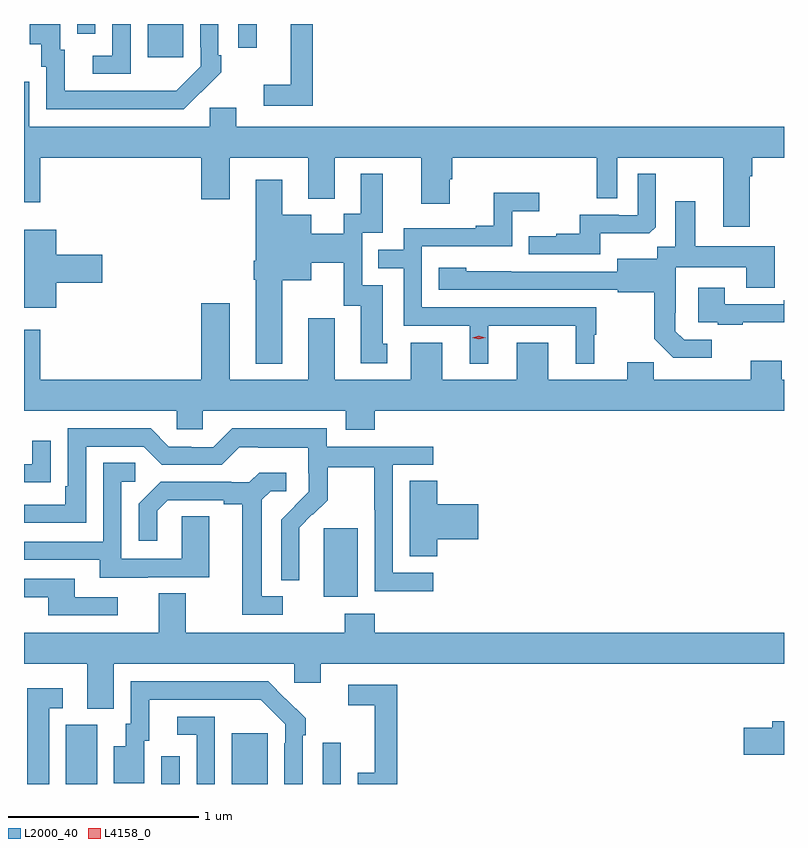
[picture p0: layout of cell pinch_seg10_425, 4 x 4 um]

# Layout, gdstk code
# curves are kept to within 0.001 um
import gdstk
lib = gdstk.Library(unit=1e-6, precision=1e-09)
def R(c, l, rs):  # rectangles x0, y0, x1, y1
    for r in rs: c.add(gdstk.rectangle(r[:2], r[2:], *l))
def P(c, l, *ps):  # polygons
    for p in ps: c.add(gdstk.Polygon(p, *l))
L2000_40 = (2000, 40)
L4158_0 = (4158, 0)

pinch_seg10_425 = lib.new_cell('pinch_seg10_425')
R(pinch_seg10_425, L2000_40, [(349.58,1287.696,349.744,1288.008), (350.082,1287.696,350.178,1287.841), (350.453,1287.696,350.641,1287.964), (350.931,1287.696,351.027,1287.913), (350.936,1288.682,351.115,1289.043), (350.009,1291.521,350.197,1291.696), (350.487,1291.572,350.583,1291.696), (349.638,1291.644,349.734,1291.696)])
P(pinch_seg10_425, L2000_40, [(350.291,1291.339),(350.292,1291.338),(350.397,1291.443),(350.397,1291.531),(350.382,1291.531),(350.382,1291.696),(350.286,1291.696),(350.286,1291.573),(350.289,1291.573),(350.289,1291.473),(350.161,1291.345),(350.057,1291.344),(349.573,1291.344),(349.573,1291.56),(349.549,1291.56),(349.549,1291.696),(349.388,1291.696),(349.388,1291.589),(349.451,1291.589),(349.451,1291.47),(349.476,1291.47),(349.476,1291.248),(350.2,1291.248)],
  [(350.879,1291.696),(350.762,1291.696),(350.762,1291.375),(350.622,1291.375),(350.622,1291.266),(350.879,1291.266)],
  [(349.92,1291.696),(349.824,1291.696),(349.824,1291.53),(349.722,1291.53),(349.722,1291.434),(349.92,1291.434)],
  [(353.179,1290.896),(353.192,1290.896),(353.192,1290.992),(353.359,1290.992),(353.359,1291.156),(350.476,1291.156),(350.476,1291.254),(350.337,1291.254),(350.337,1291.156),(349.387,1291.156),(349.387,1291.392),(349.359,1291.392),(349.359,1290.759),(349.445,1290.759),(349.445,1290.992),(350.291,1290.992),(350.291,1290.774),(350.443,1290.774),(350.443,1290.992),(350.855,1290.992),(350.855,1290.776),(350.995,1290.776),(350.995,1290.992),(351.449,1290.992),(351.449,1290.75),(351.601,1290.75),(351.601,1290.879),(351.614,1290.879),(351.614,1290.992),(352.374,1290.992),(352.374,1290.778),(352.482,1290.778),(352.482,1290.992),(353.039,1290.992),(353.039,1290.63),(353.179,1290.63)],
  [(352.393,1290.596),(352.651,1290.596),(352.683,1290.627),(352.683,1290.907),(352.59,1290.907),(352.59,1290.69),(352.49,1290.69),(352.49,1290.693),(352.283,1290.693),(352.283,1290.592),(352.159,1290.592),(352.159,1290.58),(352.015,1290.58),(352.015,1290.483),(352.393,1290.483)],
  [(350.719,1290.347),(350.872,1290.347),(350.872,1290.44),(351.042,1290.44),(351.042,1290.213),(351.131,1290.213),(351.131,1289.91),(351.271,1289.91),(351.271,1290.012),(351.247,1290.012),(351.247,1290.321),(351.138,1290.321),(351.138,1290.597),(351.247,1290.597),(351.247,1290.907),(351.131,1290.907),(351.131,1290.698),(351.041,1290.698),(351.041,1290.592),(350.872,1290.592),(350.872,1290.691),(350.719,1290.691),(350.719,1290.877),(350.579,1290.877),(350.579,1290.451),(350.567,1290.451),(350.567,1290.351),(350.579,1290.351),(350.579,1289.909),(350.719,1289.909)],
  [(351.802,1290.108),(352.262,1290.108),(352.262,1289.909),(352.36,1289.909),(352.36,1290.06),(352.372,1290.06),(352.372,1290.204),(351.453,1290.204),(351.453,1290.525),(351.93,1290.525),(351.93,1290.71),(352.072,1290.71),(352.072,1290.809),(351.832,1290.809),(351.832,1290.634),(351.737,1290.634),(351.737,1290.621),(351.357,1290.621),(351.357,1290.507),(351.223,1290.507),(351.223,1290.411),(351.357,1290.411),(351.357,1290.108),(351.704,1290.108),(351.704,1289.909),(351.802,1289.909)],
  [(352.978,1290.033),(352.833,1290.033),(352.786,1290.08),(352.786,1290.175),(352.788,1290.175),(352.788,1290.416),(353.159,1290.416),(353.159,1290.307),(353.311,1290.307),(353.311,1290.526),(352.891,1290.526),(352.891,1290.763),(352.787,1290.763),(352.787,1290.524),(352.692,1290.524),(352.692,1290.46),(352.481,1290.46),(352.481,1290.393),(351.687,1290.394),(351.687,1290.412),(351.543,1290.412),(351.543,1290.297),(352.485,1290.297),(352.485,1290.285),(352.677,1290.285),(352.677,1290.039),(352.777,1289.939),(352.978,1289.939)],
  [(349.528,1290.335),(349.771,1290.335),(349.771,1290.482),(349.528,1290.482),(349.528,1290.613),(349.359,1290.613),(349.359,1290.203),(349.528,1290.203)],
  [(353.143,1290.125),(353.359,1290.125),(353.359,1290.241),(353.357,1290.241),(353.357,1290.222),(353.047,1290.222),(353.047,1290.307),(352.907,1290.307),(352.907,1290.126),(353.011,1290.126),(353.011,1290.114),(353.143,1290.114)],
  [(351.206,1289.66),(353.359,1289.66),(353.359,1289.824),(353.347,1289.824),(353.347,1289.923),(353.183,1289.923),(353.183,1289.824),(352.673,1289.824),(352.673,1289.915),(352.535,1289.915),(352.535,1289.824),(352.117,1289.824),(352.117,1290.019),(351.953,1290.019),(351.953,1289.824),(351.559,1289.824),(351.559,1290.019),(351.395,1290.019),(351.395,1289.824),(350.995,1289.824),(350.995,1290.148),(350.855,1290.148),(350.855,1289.824),(350.443,1289.824),(350.443,1290.226),(350.291,1290.226),(350.291,1289.824),(349.445,1289.824),(349.445,1290.088),(349.359,1290.088),(349.359,1289.66),(350.163,1289.66),(350.163,1289.562),(350.301,1289.562),(350.301,1289.66),(351.053,1289.66),(351.053,1289.561),(351.206,1289.561)],
  [(351.514,1288.809),(351.3,1288.809),(351.3,1289.376),(351.514,1289.376),(351.514,1289.472),(350.952,1289.472),(350.952,1289.569),(350.455,1289.569),(350.355,1289.469),(350.24,1289.469),(350.24,1289.472),(350.121,1289.472),(350.025,1289.568),(349.59,1289.568),(349.59,1289.263),(349.577,1289.263),(349.577,1289.166),(349.359,1289.166),(349.359,1289.07),(349.686,1289.07),(349.686,1289.472),(349.989,1289.472),(350.085,1289.376),(350.4,1289.376),(350.493,1289.469),(350.593,1289.469),(350.593,1289.465),(350.856,1289.465),(350.856,1289.331),(350.858,1289.331),(350.858,1289.234),(350.712,1289.086),(350.712,1288.768),(350.808,1288.768),(350.807,1289.045),(350.877,1289.115),(350.88,1289.112),(350.957,1289.189),(350.957,1289.364),(351.202,1289.364),(351.202,1289.14),(351.204,1289.14),(351.204,1288.711),(351.514,1288.711)],
  [(349.397,1289.284),(349.499,1289.284),(349.499,1289.503),(349.403,1289.503),(349.403,1289.379),(349.359,1289.379),(349.359,1289.283),(349.397,1289.283)],
  [(350.011,1288.785),(350.335,1288.785),(350.335,1289.105),(350.19,1289.105),(350.19,1288.881),(349.872,1288.881),(349.872,1289.286),(349.945,1289.286),(349.945,1289.387),(349.776,1289.387),(349.776,1288.971),(349.359,1288.971),(349.359,1288.875),(349.757,1288.875),(349.757,1288.781),(350.011,1288.781)],
  [(350.722,1288.683),(350.611,1288.683),(350.611,1289.191),(350.658,1289.238),(350.74,1289.238),(350.74,1289.335),(350.596,1289.335),(350.544,1289.283),(350.45,1289.283),(350.45,1289.286),(350.078,1289.286),(349.962,1289.17),(349.962,1288.977),(350.059,1288.977),(350.059,1289.133),(350.116,1289.19),(350.411,1289.19),(350.411,1289.168),(350.507,1289.168),(350.507,1288.587),(350.722,1288.587)],
  [(351.533,1288.985),(351.751,1288.985),(351.751,1289.168),(351.533,1289.168),(351.533,1289.291),(351.389,1289.291),(351.389,1288.894),(351.533,1288.894)],
  [(349.852,1288.68),(349.627,1288.68),(349.627,1288.776),(349.359,1288.776),(349.359,1288.68),(349.487,1288.68),(349.487,1288.584),(349.852,1288.584)],
  [(349.831,1288.328),(350.781,1288.328),(350.781,1288.23),(350.92,1288.23),(350.92,1288.328),(353.359,1288.328),(353.359,1288.492),(351.206,1288.492),(351.206,1288.591),(351.046,1288.591),(351.046,1288.492),(350.209,1288.492),(350.209,1288.7),(350.069,1288.7),(350.069,1288.492),(349.359,1288.492),(349.359,1288.328),(349.691,1288.328),(349.691,1288.093),(349.831,1288.093)],
  [(350.826,1287.953),(350.841,1287.953),(350.841,1288.041),(350.644,1288.236),(349.92,1288.236),(349.92,1288.014),(349.895,1288.014),(349.895,1287.895),(349.832,1287.895),(349.832,1287.699),(349.993,1287.699),(349.993,1287.924),(350.017,1287.924),(350.017,1288.14),(350.605,1288.14),(350.733,1288.011),(350.733,1287.911),(350.73,1287.911),(350.73,1287.696),(350.826,1287.696)],
  [(351.323,1288.218),(351.066,1288.218),(351.066,1288.11),(351.206,1288.11),(351.206,1287.754),(351.116,1287.754),(351.116,1287.696),(351.323,1287.696)],
  [(349.491,1288.095),(349.564,1288.095),(349.564,1288.201),(349.375,1288.201),(349.375,1287.696),(349.491,1287.696)],
  [(350.364,1288.05),(350.166,1288.05),(350.166,1287.954),(350.268,1287.954),(350.268,1287.696),(350.364,1287.696)],
  [(353.359,1288.027),(353.297,1288.027),(353.297,1287.993),(353.148,1287.993),(353.148,1287.851),(353.359,1287.851)])
P(pinch_seg10_425, L4158_0, [(351.753,1290.036),(351.717,1290.046),(351.717,1290.046),(351.717,1290.046),(351.753,1290.056),(351.789,1290.046),(351.789,1290.046),(351.789,1290.046)])

lib.write_gds('pinch_seg10_425.gds')
